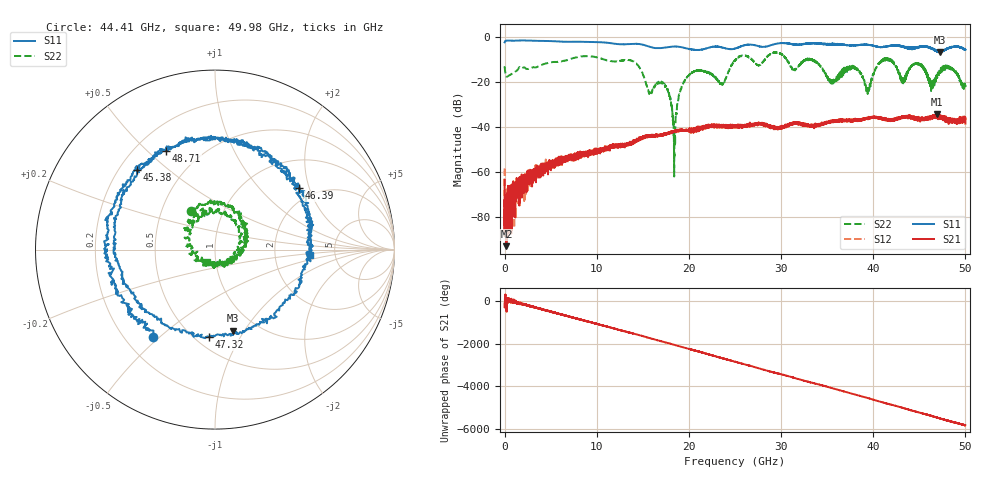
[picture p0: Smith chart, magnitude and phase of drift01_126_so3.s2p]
!Created with skrf (http://scikit-rf.org).
# Hz S RI R 50.0
!freq ReS11 ImS11 ReS21 ImS21 ReS12 ImS12 ReS22 ImS22
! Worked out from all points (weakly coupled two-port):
!   10001 points, 300 kHz to 50 GHz, reference 50 ohm
!   highest |S21| = -34.23 dB at 46.9 GHz (marker M1); lowest = -93.1 dB at 200.3 MHz (marker M2)
!   lowest |S11| = -6.7 dB at 47.22 GHz (marker M3), VSWR 2.73, Z = 38.8 - j44.7 ohm
!   |S11| at or under -10 dB: nowhere
!   |S22| runs from -62.1 to -6.7 dB; largest |S21 - S12| = 0.0041
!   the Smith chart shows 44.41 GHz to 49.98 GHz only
!   S11 on the Smith chart (normalised r, x): 44.41 GHz: 0.31, -0.48; 45.38 GHz: 0.27, +0.39; 46.39 GHz: 1.67, +1.72; 47.32 GHz: 0.58, -0.74; 48.71 GHz: 0.32, +0.57; 49.98 GHz: 3.23, -0.28
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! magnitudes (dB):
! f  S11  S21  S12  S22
! 300 kHz  -2.1  -63.4  -58.5  -12.9
! 200.3 MHz  -1.4  -93.1  -75.8  -17.5
! 8.335 GHz  -1.9  -53.2  -52.4  -8.5
! 16.67 GHz  -4.8  -43.8  -43.7  -20.0
! 17.74 GHz  -4.3  -42.8  -42.8  -24.1
! 18.44 GHz  -4.1  -41.9  -41.9  -47.6
! 19.95 GHz  -5.1  -41.6  -41.5  -17.1
! 23.6 GHz  -4.5  -39.2  -39.5  -20.7
! 25 GHz  -5.0  -39.4  -39.2  -10.4
! 33.34 GHz  -2.6  -39.5  -39.3  -9.8
! 39.46 GHz  -3.3  -36.1  -36.1  -23.1
! 41.67 GHz  -3.9  -37.1  -36.7  -9.9
! 43.19 GHz  -4.1  -36.0  -35.6  -19.7
! 44.41 GHz  -4.5  -35.8  -35.9  -11.8
! 45.38 GHz  -4.1  -36.7  -36.4  -12.8
! 46.39 GHz  -4.7  -35.8  -35.2  -20.5
! 46.9 GHz  -6.2  -34.2  -35.0  -17.6
! 47.22 GHz  -6.7  -34.9  -34.9  -15.1
! 47.32 GHz  -6.2  -35.9  -35.9  -14.9
! 48.71 GHz  -4.2  -36.4  -36.7  -14.5
! 49.98 GHz  -5.5  -37.1  -35.9  -21.4
! 50 GHz  -5.6  -38.5  -36.4  -21.9
